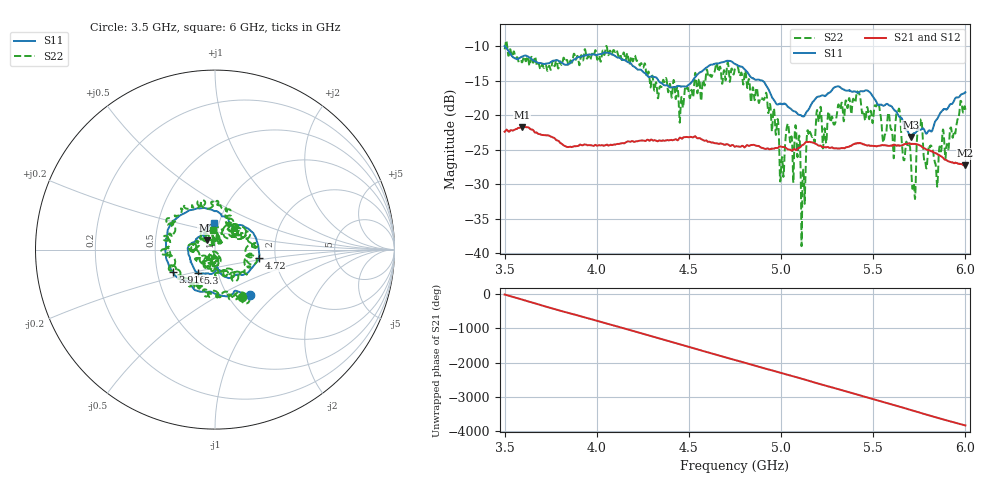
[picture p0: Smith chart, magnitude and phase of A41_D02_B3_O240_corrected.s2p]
! Created with skrf 1.9.0 (http://scikit-rf.org).
# Hz S RI R 50.0
!freq ReS11 ImS11 ReS21 ImS21 ReS12 ImS12 ReS22 ImS22
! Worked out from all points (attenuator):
!   1601 points, 3.5 GHz to 6 GHz, reference 50 ohm
!   highest |S21| = -21.68 dB at 3.594 GHz (marker M1); lowest = -27.3 dB at 6 GHz (marker M2)
!   lowest |S11| = -23.1 dB at 5.703 GHz (marker M3), VSWR 1.15, Z = 45.3 + j4.75 ohm
!   |S11| at or under -10 dB: 3.501 GHz to end of sweep
!   |S22| runs from -39.0 to -9.1 dB; largest |S21 - S12| = 0.0009
!   S11 on the Smith chart (normalised r, x): 3.5 GHz: 1.26, -0.71; 3.916 GHz: 0.60, -0.16; 4.72 GHz: 1.63, -0.17; 5.3 GHz: 0.80, -0.21; 6 GHz: 0.94, +0.28
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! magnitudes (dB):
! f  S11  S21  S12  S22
! 3.5 GHz  -10.0  -22.4  -22.4  -10.4
! 3.594 GHz  -11.5  -21.7  -21.7  -12.3
! 3.916 GHz  -11.5  -24.3  -24.3  -11.3
! 3.917 GHz  -11.5  -24.3  -24.3  -11.3
! 4.334 GHz  -15.0  -23.7  -23.6  -17.2
! 4.72 GHz  -12.1  -24.4  -24.4  -15.0
! 4.75 GHz  -12.6  -24.5  -24.5  -13.2
! 4.928 GHz  -16.0  -24.8  -24.8  -19.3
! 5.005 GHz  -18.3  -24.6  -24.6  -26.0
! 5.033 GHz  -18.6  -24.9  -24.8  -21.5
! 5.088 GHz  -19.7  -24.9  -24.9  -25.8
! 5.119 GHz  -20.2  -24.3  -24.2  -28.1
! 5.147 GHz  -19.2  -23.9  -23.9  -22.4
! 5.167 GHz  -18.2  -23.9  -23.9  -23.1
! 5.3 GHz  -15.9  -24.8  -24.8  -20.4
! 5.584 GHz  -18.5  -24.4  -24.4  -19.6
! 5.636 GHz  -20.0  -24.3  -24.3  -19.3
! 5.703 GHz  -23.1  -24.2  -24.1  -25.9
! 5.72 GHz  -22.6  -24.1  -24.1  -29.9
! 5.753 GHz  -22.1  -24.4  -24.3  -21.6
! 5.842 GHz  -20.7  -25.5  -25.5  -28.3
! 6 GHz  -16.7  -27.3  -27.2  -19.2
